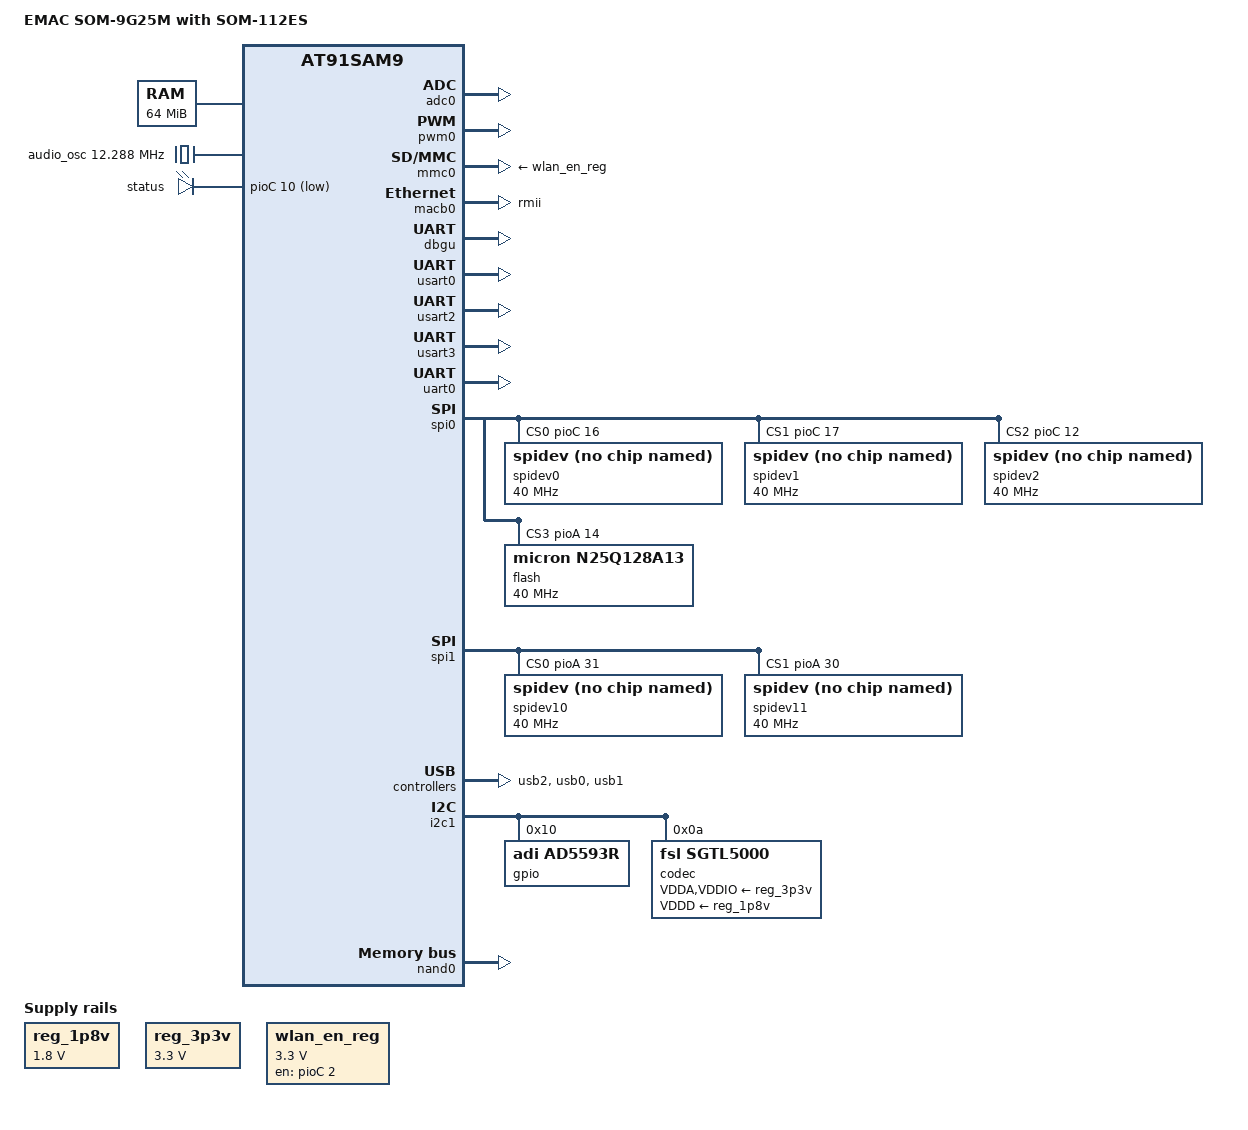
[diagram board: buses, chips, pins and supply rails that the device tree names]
/*
 * som-9g25-112es.dts - Device Tree file for the SOM-9G25 with the SOM-112.
 *
 *  Copyright (C) 2018 EMAC Inc.
 *
 * Licensed under GPLv2 or later.
 */
/dts-v1/;
#include "at91sam9g25.dtsi"
#include <dt-bindings/iio/adi,ad5592r.h>

/ {
	model = "EMAC SOM-9G25M with SOM-112ES";
	compatible = "emac,som9g25", "atmel,at91sam9x5", "atmel,at91sam9";

	aliases {
		serial0 = &usart3;
		serial1 = &usart0;
		serial3 = &uart0;
		serial4 = &usart2;
		serial5 = &dbgu;
		spi0 = &spi0;
		spi1 = &spi1;
	};

	memory {
		reg = <0x20000000 0x4000000>;
	};

	clocks {
		#address-cells = <1>;
		#size-cells = <1>;
		ranges;

		slow_xtal {
			clock-frequency = <32768>;
		};

		main_xtal {
			clock-frequency = <12000000>;
		};

		audio_osc: audio_osc {
			compatible = "fixed-clock";
			#clock-cells = <0>;
			clock-frequency = <12288000>;
		};
	};

	regulators {
		compatible = "simple-bus";
		#address-cells = <1>;
		#size-cells = <0>;

		reg_1p8v: regulator-1p8v {
			compatible = "regulator-fixed";
			regulator-name = "1P8V";
			regulator-min-microvolt = <1800000>;
			regulator-max-microvolt = <1800000>;
			regulator-boot-on;
			regulator-always-on;
		};

		reg_3p3v: regulator-3p3v {
			compatible = "regulator-fixed";
			regulator-name = "3P3V";
			regulator-min-microvolt = <3300000>;
			regulator-max-microvolt = <3300000>;
			regulator-always-on;
		};

		wlan_en_reg: regulator@1 {
			compatible = "regulator-fixed";
			regulator-name = "wlan-en-regulator";
			regulator-min-microvolt = <3300000>;
			regulator-max-microvolt = <3300000>;
			gpio = <&pioC 2 1>;
			regulator-always-on;
			startup-delay-us = <2000>;
			enable-active-high;
               };
	};

	sound {
		compatible = "simple-audio-card";
		simple-audio-card,name = "sgtl5000 @ SOM9G25";
		simple-audio-card,format = "i2s";
		simple-audio-card,bitclock-master = <&codec_master>;
		simple-audio-card,frame-master = <&codec_master>;
		simple-audio-card,widgets =
			"Line", "Line In",
			"Line", "Line Out";
		simple-audio-card,routing =
			"Line In", "Capture",
			"Line Out", "Playback";

		cpu_master: simple-audio-card,cpu {
			sound-dai = <&ssc0>;
		};

		codec_master: simple-audio-card,codec {
			sound-dai = <&codec>;
			clocks = <&audio_osc>;
		};
	};

	ahb {
		apb {
			pinctrl@fffff400 {
				adc0 {
					pinctrl_adc0: adc0-board {
						atmel,pins =
							<AT91_PIOB 11 AT91_PERIPH_GPIO AT91_PINCTRL_NONE
							 AT91_PIOB 12 AT91_PERIPH_GPIO AT91_PINCTRL_NONE
							 AT91_PIOB 13 AT91_PERIPH_GPIO AT91_PINCTRL_NONE
							 AT91_PIOB 14 AT91_PERIPH_GPIO AT91_PINCTRL_NONE>;
					};
				};

				pwm0 {
					pinctrl_pwm0: pwm0-board {
						atmel,pins =
							<AT91_PIOC 18 AT91_PERIPH_C AT91_PINCTRL_NONE
							 AT91_PIOC 19 AT91_PERIPH_C AT91_PINCTRL_NONE>;
					};
				};

				spi0 {
					pinctrl_spi0_cs: spi0-board {
						atmel,pins =
							<AT91_PIOA 14 AT91_PERIPH_GPIO AT91_PINCTRL_PULL_UP
							 AT91_PIOC 16 AT91_PERIPH_GPIO AT91_PINCTRL_PULL_UP
							 AT91_PIOC 17 AT91_PERIPH_GPIO AT91_PINCTRL_PULL_UP
							 AT91_PIOC 12 AT91_PERIPH_GPIO AT91_PINCTRL_PULL_UP>;
					};
				};

				spi1 {
					pinctrl_spi1_cs: spi1-board {
						atmel,pins =
							<AT91_PIOA 31 AT91_PERIPH_GPIO AT91_PINCTRL_PULL_UP
							 AT91_PIOA 30 AT91_PERIPH_GPIO AT91_PINCTRL_PULL_UP>;
					};
				};
			};

			adc0: adc@f804c000 {
				pinctrl-names = "default";
				pinctrl-0 = <&pinctrl_adc0>;
				atmel,adc-channels-used = <0xf>;
				atmel,adc-vref = <2500>;
				status = "okay";
			};

			pwm0: pwm@f8034000 {
				pinctrl-names = "default";
				pinctrl-0 = <&pinctrl_pwm0>;
				status = "okay";
			};

			mmc0: mmc@f0008000 {
				pinctrl-names = "default";
				pinctrl-0 = <
					&pinctrl_mmc0_slot0_clk_cmd_dat0
					&pinctrl_mmc0_slot0_dat1_3>;
				vmmc-supply = <&wlan_en_reg>;
				status = "okay";
				slot@0 {
					reg = <0>;
					bus-width = <4>;
				};
			};

			macb0: ethernet@f802c000 {
				phy-mode = "rmii";
				status = "okay";
			};

			rtc: rtc@fffffeb0 {
				status = "okay";
			};

			dbgu: serial@fffff200 {
				status = "okay";
			};

			usart0: serial@f801c000 {
				pinctrl-names = "default";
				pinctrl-0 = <
					&pinctrl_usart0
					&pinctrl_usart0_rts>;
				rs485-rts-delay = <0 1>;
				status = "okay";
			};

			usart2: serial@f8024000 {
				status = "okay";
			};

			usart3: serial@f8028000 {
				pinctrl-names = "default";
				pinctrl-0 = <
					&pinctrl_usart3
					&pinctrl_usart3_rts
					&pinctrl_usart3_cts>;
				status = "okay";
			};

			uart0: serial@f8040000 {
				status = "okay";
			};

			spi0: spi@f0000000 {
				cs-gpios = <&pioC 16 0
					    &pioC 17 0
					    &pioC 12 0
					    &pioA 14 0>;
				pinctrl-0 = <&pinctrl_spi0 &pinctrl_spi0_cs>;
				status = "okay";

				spidev0: spidev@0 {
					compatible = "emac,spidev";
					reg = <0>;
					spi-max-frequency = <40000000>;
				};

				spidev1: spidev@1 {
					compatible = "emac,spidev";
					reg = <1>;
					spi-max-frequency = <40000000>;
				};

				spidev2: spidev@2 {
					compatible = "emac,spidev";
					reg = <2>;
					spi-max-frequency = <40000000>;
				};

				flash: n25q128a13@3 {
					compatible = "micron,n25q128a13";
					spi-max-frequency = <40000000>;
					reg = <3>;
				};
			};

			spi1: spi@f0004000 {
				cs-gpios = <&pioA 31 0
					    &pioA 30 0>;
				pinctrl-0 = <&pinctrl_spi1 &pinctrl_spi1_cs>;
				status = "okay";

				spidev10: spidev@10 {
					compatible = "emac,spidev";
					reg = <0>;
					spi-max-frequency = <40000000>;
				};

				spidev11: spidev@11 {
					compatible = "emac,spidev";
					reg = <1>;
					spi-max-frequency = <40000000>;
				};
			};

			ssc0: ssc@f0010000 {
				#sound-dai-cells = <0>;
				status = "okay";
			};

			usb2: gadget@f803c000 {
				status = "okay";
			};

			i2c1: i2c@f8014000 {
				status = "okay";

				gpio: ad5593r@10 {
					#size-cells = <0>;
					#address-cells = <1>;
					#gpio-cells = <2>;
					compatible = "adi,ad5593r";
					reg = <0x10>;
					gpio-controller;

					channel@0 {
						reg = <0>;
						adi,mode = <CH_MODE_GPIO>;
						adi,off-state = <CH_OFFSTATE_PULLDOWN>;
					};

					channel@1 {
						reg = <1>;
						adi,mode = <CH_MODE_GPIO>;
						adi,off-state = <CH_OFFSTATE_PULLDOWN>;
					};

					channel@2 {
						reg = <2>;
						adi,mode = <CH_MODE_GPIO>;
						adi,off-state = <CH_OFFSTATE_PULLDOWN>;
					};

					channel@3 {
						reg = <3>;
						adi,mode = <CH_MODE_GPIO>;
						adi,off-state = <CH_OFFSTATE_PULLDOWN>;
					};

					channel@4 {
						reg = <4>;
						adi,mode = <CH_MODE_DAC_AND_ADC>;
						adi,off-state = <CH_OFFSTATE_PULLDOWN>;
					};
	
					channel@5 {
						reg = <5>;
						adi,mode = <CH_MODE_DAC_AND_ADC>;
						adi,off-state = <CH_OFFSTATE_PULLDOWN>;
					};

					channel@6 {
						reg = <6>;
						adi,mode = <CH_MODE_DAC_AND_ADC>;
						adi,off-state = <CH_OFFSTATE_PULLDOWN>;
					};

					channel@7 {
						reg = <7>;
						adi,mode = <CH_MODE_DAC_AND_ADC>;
						adi,off-state = <CH_OFFSTATE_PULLDOWN>;
					};
				};

				codec: sgtl5000@0a {
					#sound-dai-cells = <0>;
					reg = <0x0a>;
					compatible = "fsl,sgtl5000";
					clocks = <&audio_osc>;
					VDDA-supply = <&reg_3p3v>;
					VDDIO-supply = <&reg_3p3v>;
					VDDD-supply = <&reg_1p8v>;
				};
			};
		};

		nand0: nand@40000000 {
			nand-bus-width = <8>;
			nand-ecc-mode = "hw";
			atmel,has-pmecc;	/* Enable PMECC */
			atmel,pmecc-cap = <4>;
			atmel,pmecc-sector-size = <512>;
			nand-on-flash-bbt;
			status = "okay";
		};

		usb0: ohci@00600000 {
			status = "okay";
			num-ports = <3>;
		};

		usb1: ehci@00700000 {
			status = "okay";
		};
	};

	gpio-leds {
		compatible = "gpio-leds";
		led-stat {
			label = "status";
			gpios = <&pioC 10 1>;
			default-state = "on";
		};
	};
};
